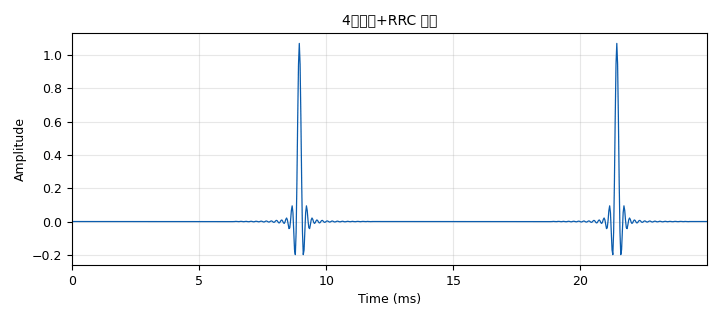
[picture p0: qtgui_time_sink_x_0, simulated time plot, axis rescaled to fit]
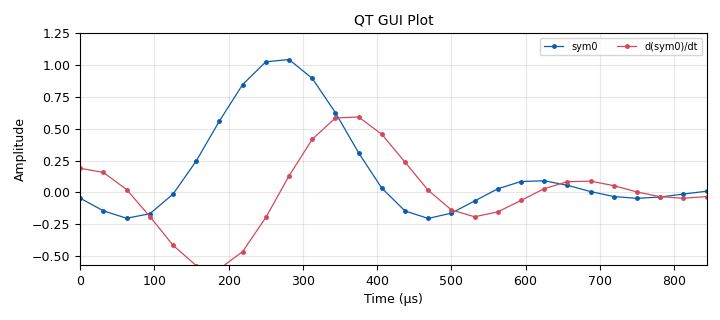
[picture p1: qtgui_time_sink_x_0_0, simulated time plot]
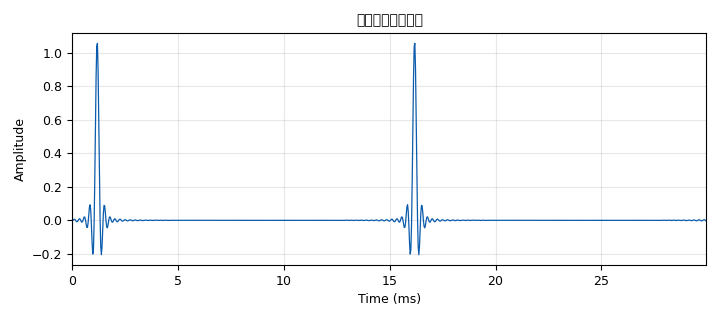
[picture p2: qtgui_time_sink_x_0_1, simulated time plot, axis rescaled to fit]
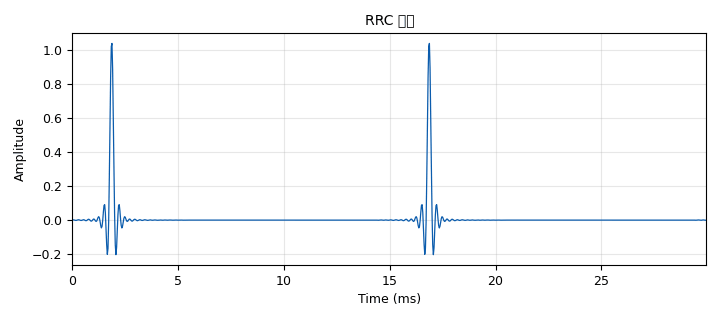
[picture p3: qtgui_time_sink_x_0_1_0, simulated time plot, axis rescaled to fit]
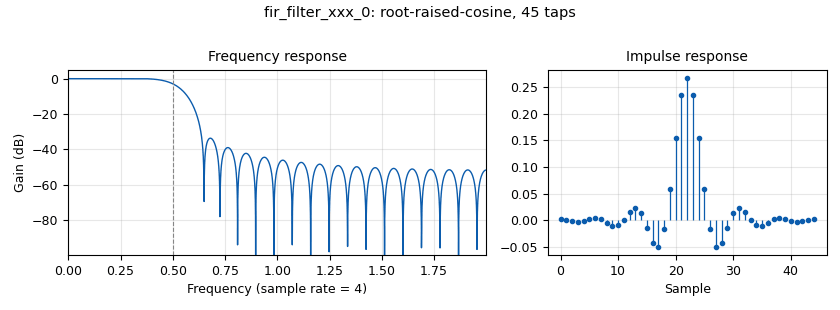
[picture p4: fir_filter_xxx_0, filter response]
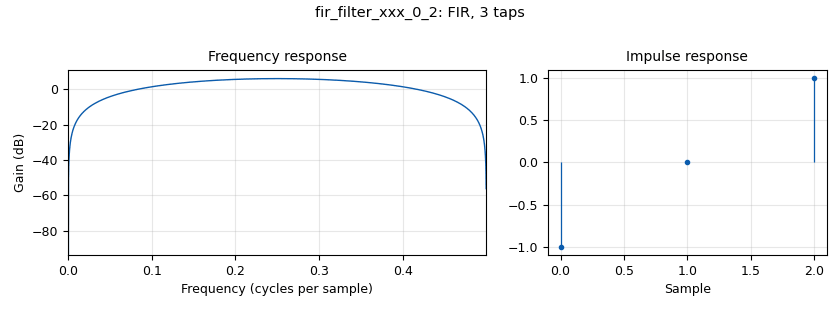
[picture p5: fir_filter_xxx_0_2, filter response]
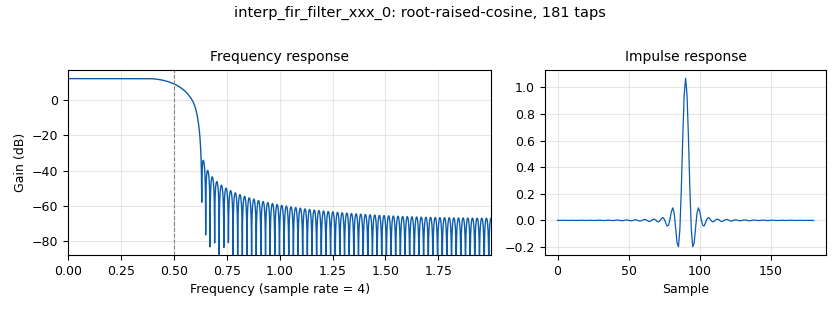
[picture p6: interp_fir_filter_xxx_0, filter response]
options:
  parameters:
    category: Custom
    generate_options: qt_gui
    id: symbol_differential_filter
    output_language: python
  states: {}

blocks:
- name: eb
  id: variable
  parameters:
    value: '0.25'
  states: {}
- name: ntaps
  id: variable
  parameters:
    value: '45'
  states: {}
- name: rate
  id: variable_qtgui_range
  parameters:
    start: '1'
    step: '1'
    stop: '10'
    value: '1.2'
  states: {}
- name: rrc_rx
  id: variable
  parameters:
    comment: |-
      firdes.root_raised_cosine(1.0, sps, 1, eb, ntaps)
      gain = 1
      sampling_freq = sps
      symbol_rate = 1
      alpha = eb
      ntaps = ntaps
    value: firdes.root_raised_cosine(1.0, sps, 1, eb, ntaps)
  states: {}
- name: rrc_tx
  id: variable
  parameters:
    comment: |-
      (double gain, double sampling_freq, double symbol_rate, double alpha, int ntaps)
      firdes.root_raised_cosine(sps, sps, 1, eb, sps*ntaps)
      - sps = 4
      - eb = 0.250
      - ntaps = 45
    value: firdes.root_raised_cosine(sps, sps, 1, eb, sps*ntaps)
  states: {}
- name: samp_rate
  id: variable
  parameters:
    value: '32000'
  states: {}
- name: sps
  id: variable
  parameters:
    value: '4'
  states: {}
- name: blocks_delay_0_0
  id: blocks_delay
  parameters:
    comment: |-
      将输入延迟一定数量的样本。
      正延迟在流的开头插入零个项目。
      负延迟会丢弃流中的项目。
      Number of samples/items to delay by
    delay: '1'
    type: float
  states: {}
- name: blocks_throttle_0
  id: blocks_throttle
  parameters:
    samples_per_second: samp_rate
    type: float
  states: {}
- name: blocks_vector_source_x_0
  id: blocks_vector_source_x
  parameters:
    comment: 49个0,1个1,50个0
    repeat: 'True'
    type: float
    vector: 49*[0,] + [1,] + 50*[0,]
  states: {}
- name: fir_filter_xxx_0
  id: fir_filter_xxx
  parameters:
    comment: |-
      https://wiki.gnuradio.org/index.php/Decimating_FIR_Filter
      抽取 FIR 滤波器
      这是 GNU Radio 的“普通”FIR 滤波器, 对于大量抽头，请考虑使用FFT 滤波器

      - 抽取 = 1，意味着没有抽取
      - taps = rrc_rx
      - 采样延时 = 0
      所以该块主要做了 rrc_rx 滤波
    decim: '1'
    taps: rrc_rx
    type: fff
  states: {}
- name: fir_filter_xxx_0_2
  id: fir_filter_xxx
  parameters:
    comment: |-
      out[n]=in[n]*taps[0]+in[n-1]*taps[1]+in[n-2]*taps[2]
                 =in[n-2]-in[n]

      差分滤波器 ([-1, 0, 1]) 生成符号的差分
    decim: '1'
    taps: '[-1, 0, 1]'
    type: fff
  states: {}
- name: import_math
  id: import
  parameters:
    imports: import math
  states: {}
- name: interp_fir_filter_xxx_0
  id: interp_fir_filter_xxx
  parameters:
    comment: |-
      https://wiki.gnuradio.org/index.php/Interpolating_FIR_Filter
      内插 FIR 滤波器
      100个数据，4 倍内插 ，得到 400个数据
      有限脉冲响应（FIR）滤波器在时域中执行卷积
      out = 0
      for i in ntaps:
         out += input[n-i] * taps[i]
    interp: sps
    taps: rrc_tx
    type: fff
  states: {}
- name: pfb_arb_resampler_xxx_0_0_1
  id: pfb_arb_resampler_xxx
  parameters:
    atten: '100'
    comment: |-
      .
      多相任意重采样器（这里仅仅进行重采样，所以我们将后面 Time Sink 图中的 Number of Points 设置为 800*rate）
      - 重采样率 1.2
      - taps 空
      - 过滤器数量 32
      - 阻带衰减 100
      - 采样延迟 0
    nfilts: '32'
    rrate: rate
    type: fff
  states: {}
- name: qtgui_time_sink_x_0
  id: qtgui_time_sink_x
  parameters:
    comment: 一个周期有 400 个数据：400/(32*1000) = 12.5ms
    gui_hint: 1,0
    name: '"4倍内插+RRC 滤波"'
    size: '800'
    srate: samp_rate
    type: float
  states: {}
- name: qtgui_time_sink_x_0_0
  id: qtgui_time_sink_x
  parameters:
    comment: 重采样1.2+delay1 = 2.2
    label1: sym0
    label2: d(sym0)/dt
    marker1: '0'
    marker2: '0'
    name: QT GUI Plot
    nconnections: '2'
    size: 7*sps
    srate: samp_rate
    tr_delay: 0.00005*sps
    tr_level: '0.8'
    tr_mode: qtgui.TRIG_MODE_NORM
    type: float
    update_time: '0.01'
    width1: '2'
    width2: '2'
    ymax: '1.25'
    ymin: '-0.5'
  states: {}
- name: qtgui_time_sink_x_0_1
  id: qtgui_time_sink_x
  parameters:
    comment: 一个周期有 400*1.2 个数据：400*1.2/(32*1000) = 15ms
    gui_hint: 2,0
    name: '"多相任意重采样器"'
    size: int(800*rate)
    srate: samp_rate
    type: float
  states: {}
- name: qtgui_time_sink_x_0_1_0
  id: qtgui_time_sink_x
  parameters:
    gui_hint: 3,0
    name: '"RRC 滤波"'
    size: int(800*rate)
    srate: samp_rate
    type: float
  states: {}

connections:
- [blocks_delay_0_0, '0', qtgui_time_sink_x_0_0, '0']
- [blocks_throttle_0, '0', interp_fir_filter_xxx_0, '0']
- [blocks_vector_source_x_0, '0', blocks_throttle_0, '0']
- [fir_filter_xxx_0, '0', blocks_delay_0_0, '0']
- [fir_filter_xxx_0, '0', fir_filter_xxx_0_2, '0']
- [fir_filter_xxx_0, '0', qtgui_time_sink_x_0_1_0, '0']
- [fir_filter_xxx_0_2, '0', qtgui_time_sink_x_0_0, '1']
- [interp_fir_filter_xxx_0, '0', pfb_arb_resampler_xxx_0_0_1, '0']
- [interp_fir_filter_xxx_0, '0', qtgui_time_sink_x_0, '0']
- [pfb_arb_resampler_xxx_0_0_1, '0', fir_filter_xxx_0, '0']
- [pfb_arb_resampler_xxx_0_0_1, '0', qtgui_time_sink_x_0_1, '0']

metadata:
  file_format: 1
  grc_version: 3.10.9.2
